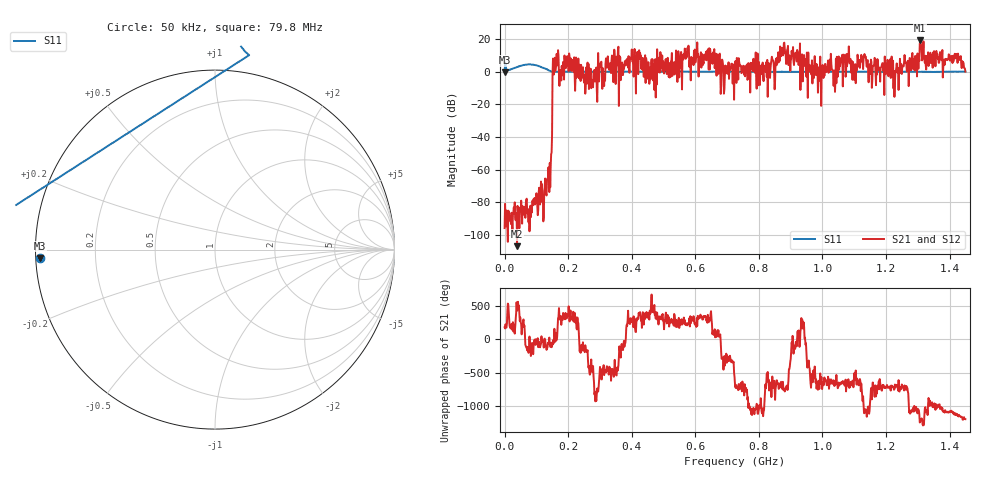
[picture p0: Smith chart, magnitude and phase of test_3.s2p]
! Created with skrf 1.11.0 (http://scikit-rf.org).
# Hz S RI R 50.0
!freq ReS11 ImS11 ReS21 ImS21 ReS12 ImS12 ReS22 ImS22
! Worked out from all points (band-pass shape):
!   1001 points, 50 kHz to 1.45 GHz, reference 50 ohm
!   highest |S21| = 19.23 dB at 1.308 GHz (marker M1); lowest = -107.0 dB at 39.2 MHz (marker M2)
!   |S21| within 3 dB of the highest: 878.4376 MHz to 880.8101 MHz (2.372 MHz wide, 0.27 % of centre); 1.306316 GHz to 1.310837 GHz (4.522 MHz wide, 0.346 % of centre) (the widest 2 of 5)
!   lowest |S11| = -0.2 dB at 50 kHz (marker M3), VSWR 79.37, Z = 0.63 - j1.18 ohm
!   |S11| at or under -10 dB: nowhere
!   |S22| runs from - to - dB; largest |S21 - S12| = 0
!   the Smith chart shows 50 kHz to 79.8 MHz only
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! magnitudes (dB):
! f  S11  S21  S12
! 50 kHz  -0.2  -95.9  -95.9
! 39.2 MHz  3.0  -107.0  -107.0
! 98.65 MHz  4.0  -79.4  -79.4
! 136.3 MHz  1.1  -65.5  -65.5
! 142.1 MHz  0.6  -55.9  -55.9
! 156.6 MHz  0.0  1.8  1.8
! 162.4 MHz  0.0  4.0  4.0
! 242.2 MHz  0.1  -1.2  -1.2
! 484.3 MHz  0.1  -0.2  -0.2
! 523.5 MHz  0.1  6.3  6.3
! 572.8 MHz  0.1  8.8  8.8
! 725 MHz  0.0  3.1  3.1
! 829.4 MHz  0.0  0.5  0.5
! 874.4 MHz  0.0  12.9  12.9
! 967.2 MHz  0.0  7.0  7.0
! 1.13 GHz  0.1  8.4  8.4
! 1.151 GHz  0.0  -1.4  -1.4
! 1.209 GHz  0.0  1.9  1.9
! 1.233 GHz  0.0  2.2  2.2
! 1.308 GHz  0.0  19.2  19.2
! 1.422 GHz  0.1  11.0  11.0
! 1.45 GHz  0.1  0.1  0.1
